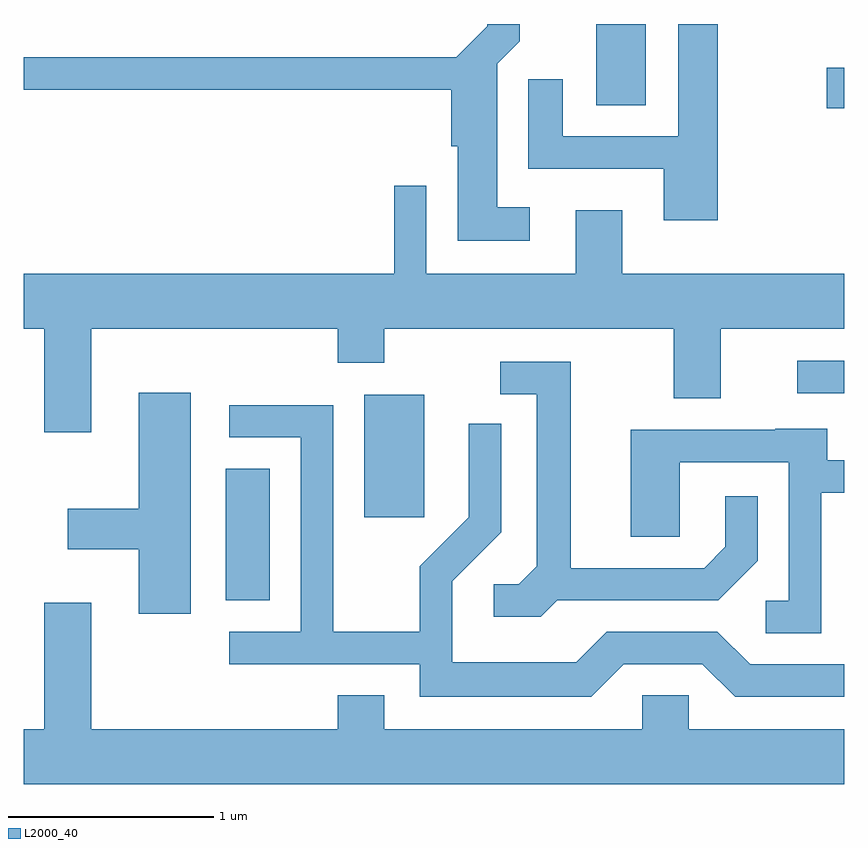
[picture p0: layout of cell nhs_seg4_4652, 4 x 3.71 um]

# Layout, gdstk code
import gdstk
lib = gdstk.Library(unit=1e-6, precision=1e-09)
def R(c, l, rs):  # rectangles x0, y0, x1, y1
    for r in rs: c.add(gdstk.rectangle(r[:2], r[2:], *l))
def P(c, l, *ps):  # polygons
    for p in ps: c.add(gdstk.Polygon(p, *l))
L2000_40 = (2000, 40)

nhs_seg4_4652 = lib.new_cell('nhs_seg4_4652')
R(nhs_seg4_4652, L2000_40, [(322.596,1311.171,322.809,1311.814), (323.271,1311.576,323.564,1312.174), (325.383,1312.181,325.611,1312.339), (325.526,1313.571,325.611,1313.769), (324.401,1313.586,324.644,1313.982)])
P(nhs_seg4_4652, L2000_40, [(324.078,1313.089),(323.919,1313.089),(323.919,1313.789),(324.029,1313.899),(324.029,1313.982),(323.871,1313.982),(323.871,1313.972),(323.719,1313.819),(321.611,1313.819),(321.611,1313.661),(323.696,1313.661),(323.696,1313.386),(323.726,1313.386),(323.726,1312.926),(324.078,1312.926)],
  [(324.994,1313.982),(324.801,1313.982),(324.801,1313.434),(324.239,1313.434),(324.239,1313.713),(324.071,1313.713),(324.071,1313.276),(324.731,1313.276),(324.731,1313.026),(324.994,1313.026)],
  [(321.939,1312.496),(323.141,1312.496),(323.141,1312.331),(323.369,1312.331),(323.369,1312.496),(324.781,1312.496),(324.781,1312.156),(325.009,1312.156),(325.009,1312.496),(325.611,1312.496),(325.611,1312.764),(324.529,1312.764),(324.529,1313.074),(324.301,1313.074),(324.301,1312.764),(323.574,1312.764),(323.574,1313.193),(323.416,1313.193),(323.416,1312.764),(321.611,1312.764),(321.611,1312.496),(321.711,1312.496),(321.711,1311.991),(321.939,1311.991)],
  [(324.212,1311.171),(324.997,1311.171),(325.189,1311.364),(325.189,1311.678),(325.031,1311.678),(325.031,1311.432),(324.929,1311.329),(324.279,1311.329),(324.279,1312.334),(323.933,1312.334),(323.933,1312.176),(324.111,1312.176),(324.111,1311.337),(324.024,1311.249),(323.903,1311.249),(323.903,1311.091),(324.132,1311.091)],
  [(322.424,1312.184),(322.171,1312.184),(322.171,1311.619),(321.826,1311.619),(321.826,1311.421),(322.171,1311.421),(322.171,1311.106),(322.424,1311.106)],
  [(324.537,1310.861),(324.919,1310.861),(325.079,1310.701),(325.611,1310.701),(325.611,1310.859),(325.152,1310.859),(324.992,1311.019),(324.454,1311.019),(324.304,1310.869),(323.699,1310.869),(323.699,1311.264),(323.939,1311.504),(323.939,1312.033),(323.781,1312.033),(323.781,1311.577),(323.541,1311.337),(323.541,1311.019),(323.119,1311.019),(323.119,1312.124),(322.613,1312.124),(322.613,1311.966),(322.961,1311.966),(322.961,1311.019),(322.613,1311.019),(322.613,1310.861),(323.541,1310.861),(323.541,1310.701),(324.377,1310.701)],
  [(325.499,1311.696),(325.611,1311.696),(325.611,1311.854),(325.529,1311.854),(325.529,1312.009),(325.275,1312.009),(325.275,1312.004),(324.571,1312.004),(324.571,1311.481),(324.809,1311.481),(324.809,1311.846),(325.341,1311.846),(325.341,1311.169),(325.228,1311.169),(325.228,1311.011),(325.499,1311.011)],
  [(325.611,1310.544),(324.854,1310.544),(324.854,1310.709),(324.626,1310.709),(324.626,1310.544),(323.369,1310.544),(323.369,1310.709),(323.141,1310.709),(323.141,1310.544),(321.939,1310.544),(321.939,1311.159),(321.711,1311.159),(321.711,1310.544),(321.611,1310.544),(321.611,1310.276),(325.611,1310.276)])

lib.write_gds('nhs_seg4_4652.gds')
